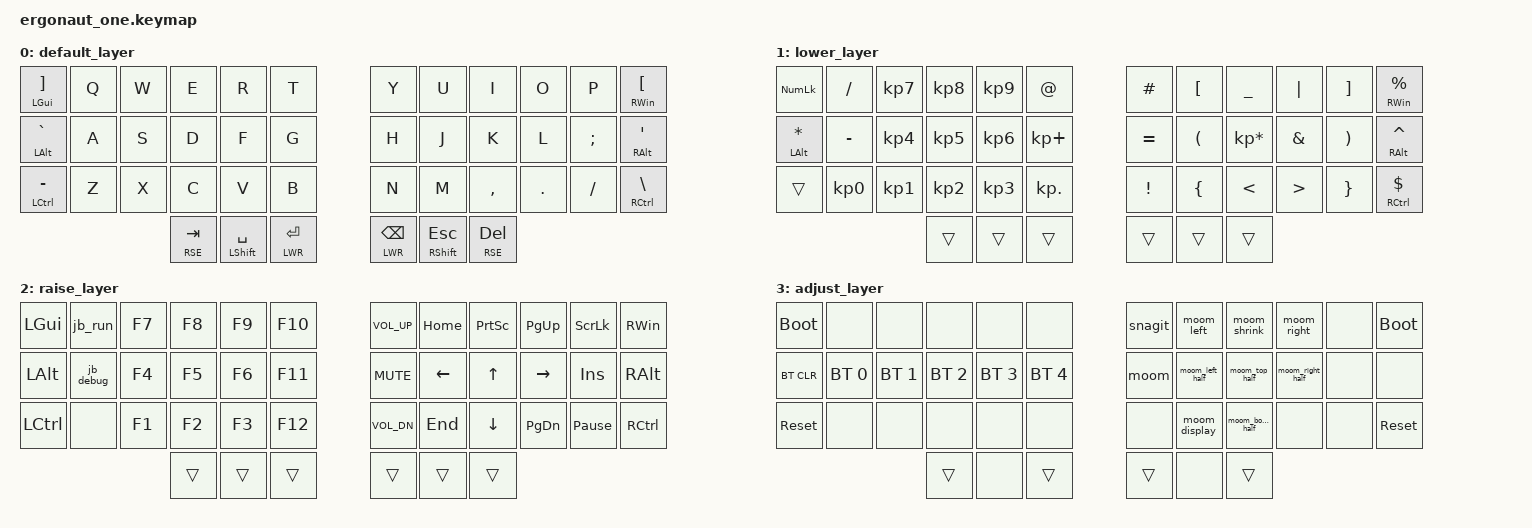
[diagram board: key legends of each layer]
#include <behaviors.dtsi>
#include <dt-bindings/zmk/bt.h>
#include <dt-bindings/zmk/keys.h>

#define DEF 0
#define LWR 1
#define RSE 2
#define ADJ 3

&lt { quick-tap-ms = <200>; };

&mt { quick-tap-ms = <200>; };

/ {
    conditional_layers {
        compatible = "zmk,conditional-layers";

        tri-layer {
            if-layers = <1 2>;
            then-layer = <3>;
        };
    };

    macros {
        plain_text: plain_text {
            compatible = "zmk,behavior-macro";
            #binding-cells = <0>;
            bindings =
                <&macro_press>,
                <&kp RGUI &kp RSHFT &kp K>,
                <&macro_release>,
                <&kp RGUI &kp RSHFT &kp K>;

            label = "PLAIN_TEXT";
        };

        moom: moom {
            compatible = "zmk,behavior-macro";
            #binding-cells = <0>;
            bindings =
                <&macro_press>,
                <&kp RGUI &kp RALT &kp DOT>,
                <&macro_release>,
                <&kp RGUI &kp RALT &kp DOT>;

            label = "MOOM";
        };

        moom_left_half: moom_left_half {
            compatible = "zmk,behavior-macro";
            #binding-cells = <0>;
            bindings =
                <&moom>,
                <&macro_wait_time 50>,
                <&macro_press>,
                <&kp LEFT_WIN &kp LEFT_ARROW>,
                <&macro_release>,
                <&kp LEFT_WIN &kp LEFT_ARROW>;

            label = "MOOM_LEFT_HALF";
        };

        moom_right_half: moom_right_half {
            compatible = "zmk,behavior-macro";
            #binding-cells = <0>;
            bindings =
                <&moom>,
                <&macro_wait_time 50>,
                <&macro_press>,
                <&kp LEFT_WIN &kp RIGHT_ARROW>,
                <&macro_release>,
                <&kp LEFT_WIN &kp RIGHT_ARROW>;

            label = "MOOM_RIGHT_HALF";
        };

        moom_top_half: moom_top_half {
            compatible = "zmk,behavior-macro";
            #binding-cells = <0>;
            bindings =
                <&moom>,
                <&macro_wait_time 50>,
                <&macro_press>,
                <&kp LEFT_WIN &kp UP_ARROW>,
                <&macro_release>,
                <&kp LEFT_WIN &kp UP_ARROW>;

            label = "MOOM_TOP_HALF";
        };

        moom_bottom_half: moom_bottom_half {
            compatible = "zmk,behavior-macro";
            #binding-cells = <0>;
            bindings =
                <&moom>,
                <&macro_wait_time 50>,
                <&macro_press>,
                <&kp LEFT_WIN &kp DOWN_ARROW>,
                <&macro_release>,
                <&kp LEFT_WIN &kp DOWN_ARROW>;

            label = "MOOM_BOTTOM_HALF";
        };

        moom_shrink: moom_shrink {
            compatible = "zmk,behavior-macro";
            #binding-cells = <0>;
            bindings = <&moom>, <&macro_wait_time 50>, <&macro_tap>, <&kp F8>;

            label = "MOOM_SHRINK";
        };

        moom_revert: moom_revert {
            compatible = "zmk,behavior-macro";
            #binding-cells = <0>;
            bindings = <&moom>, <&macro_wait_time 50>, <&macro_tap>, <&kp F6>;

            label = "MOOM_REVERT";
        };

        moom_left: moom_left {
            compatible = "zmk,behavior-macro";
            #binding-cells = <0>;
            bindings = <&moom>, <&macro_wait_time 50>, <&macro_tap>, <&kp F7>;

            label = "MOOM_LEFT";
        };

        moom_right: moom_right {
            compatible = "zmk,behavior-macro";
            #binding-cells = <0>;
            bindings = <&moom>, <&macro_wait_time 50>, <&macro_tap>, <&kp F9>;

            label = "MOOM_RIGHT";
        };

        snagit: snagit {
            compatible = "zmk,behavior-macro";
            #binding-cells = <0>;
            bindings =
                <&macro_press>,
                <&kp RGUI &kp F13>,
                <&macro_release>,
                <&kp RGUI &kp F13>;

            label = "SNAGIT";
        };

        lock_sceen: lock_sceen {
            compatible = "zmk,behavior-macro";
            #binding-cells = <0>;
            bindings =
                <&macro_press>,
                <&kp LEFT_GUI &kp LEFT_CONTROL &kp Q>,
                <&macro_release>,
                <&kp LEFT_GUI &kp LEFT_CONTROL &kp Q>;

            label = "LOCK_SCEEN";
        };

        undo: undo {
            compatible = "zmk,behavior-macro";
            #binding-cells = <0>;
            bindings =
                <&macro_press>,
                <&kp LEFT_GUI &kp Z>,
                <&macro_release>,
                <&kp LEFT_GUI &kp Z>;

            label = "UNDO";
        };

        redo: redo {
            compatible = "zmk,behavior-macro";
            #binding-cells = <0>;
            bindings =
                <&macro_press>,
                <&kp LEFT_SHIFT &kp LEFT_GUI &kp Z>,
                <&macro_release>,
                <&kp LEFT_SHIFT &kp LEFT_GUI &kp Z>;

            label = "REDO";
        };

        double_shift: double_shift {
            compatible = "zmk,behavior-macro";
            #binding-cells = <0>;
            bindings =
                <&kp LEFT_SHIFT>,
                <&macro_wait_time 10>,
                <&kp LEFT_SHIFT>;

            label = "DOUBLE_SHIFT";
        };

        moom_display: moom_display {
            compatible = "zmk,behavior-macro";
            #binding-cells = <0>;
            bindings = <&moom>, <&macro_wait_time 50>, <&macro_tap>, <&kp F10>;

            label = "MOOM_DISPLAY";
        };

        left_desk: left_desk {
            compatible = "zmk,behavior-macro";
            #binding-cells = <0>;
            bindings =
                <&macro_press>,
                <&kp LCTRL &kp LEFT_ARROW>,
                <&macro_release>,
                <&kp LEFT_ARROW &kp LCTRL>;

            label = "LEFT_DESK";
        };

        right_desk: right_desk {
            compatible = "zmk,behavior-macro";
            #binding-cells = <0>;
            bindings =
                <&macro_press>,
                <&kp LCTRL &kp RIGHT_ARROW>,
                <&macro_release>,
                <&kp RIGHT_ARROW &kp LCTRL>;

            label = "RIGHT_DESK";
        };

        jb_run: jb_run {
            compatible = "zmk,behavior-macro";
            #binding-cells = <0>;
            bindings = <&kp LA(LC(R))>;
            label = "JB_RUN";
        };

        jb_debug: jb_debug {
            compatible = "zmk,behavior-macro";
            #binding-cells = <0>;
            bindings = <&kp LA(LC(D))>;
            label = "JB_DEBUG";
        };
    };

    combos {
        compatible = "zmk,combos";

        combo_next {
            timeout-ms = <50>;
            key-positions = <20 21>;
            layers = <2>;
            bindings = <&kp C_NEXT>;
        };

        combo_prev {
            timeout-ms = <50>;
            key-positions = <19 20>;
            layers = <2>;
            bindings = <&kp C_PREVIOUS>;
        };

        combo_pause {
            timeout-ms = <50>;
            key-positions = <21 19 20>;
            layers = <2>;
            bindings = <&kp C_PLAY_PAUSE>;
        };

        lock_screen {
            bindings = <&lock_sceen>;
            key-positions = <15 16 14>;
            layers = <0>;
            timeout-ms = <50>;
        };

        undo {
            bindings = <&undo>;
            key-positions = <19 20>;
            layers = <0>;
            timeout-ms = <50>;
        };

        redo {
            bindings = <&redo>;
            key-positions = <20 21>;
            layers = <0>;
            timeout-ms = <50>;
        };

        double_shift {
            bindings = <&double_shift>;
            key-positions = <37 40>;
            layers = <0>;
            timeout-ms = <100>;
            require-prior-idle-ms = <200>;
        };

        plaint_text {
            bindings = <&plain_text>;
            key-positions = <14 15>;
            timeout-ms = <50>;
            layers = <0>;
        };

        left_desk {
            bindings = <&left_desk>;
            key-positions = <7 8>;
            layers = <0>;
            timeout-ms = <50>;
        };

        right_desk {
            bindings = <&right_desk>;
            key-positions = <8 9>;
            layers = <0>;
            timeout-ms = <50>;
        };

        moom_left {
            bindings = <&moom_left_half>;
            key-positions = <31 32>;
            layers = <0>;
            timeout-ms = <50>;
        };

        moom_right {
            bindings = <&moom_right_half>;
            key-positions = <32 33>;
            layers = <0>;
            timeout-ms = <50>;
        };

        moom_display {
            bindings = <&moom_display>;
            key-positions = <31 32 33>;
            timeout-ms = <50>;
            layers = <0>;
        };
    };

    keymap {
        compatible = "zmk,keymap";

        default_layer {
            bindings = <
&mt LGUI RBKT    &kp Q  &kp W  &kp E        &kp R            &kp T        &kp Y              &kp U          &kp I        &kp O    &kp P     &mt RWIN LEFT_BRACKET
&mt LALT GRAVE   &kp A  &kp S  &kp D        &kp F            &kp G        &kp H              &kp J          &kp K        &kp L    &kp SEMI  &mt RALT SQT
&mt LCTRL MINUS  &kp Z  &kp X  &kp C        &kp V            &kp B        &kp N              &kp M          &kp COMMA    &kp DOT  &kp FSLH  &mt RCTRL BSLH
                               &lt RSE TAB  &mt LSHFT SPACE  &lt LWR RET  &lt LWR BACKSPACE  &mt RSHFT ESC  &lt RSE DEL
            >;
        };

        lower_layer {
            bindings = <
&kp KP_NUMLOCK     &kp SLASH  &kp KP_N7  &kp KP_N8  &kp KP_N9  &kp AT_SIGN  &kp HASH   &kp LEFT_BRACKET      &kp UNDERSCORE   &kp PIPE          &kp RIGHT_BRACKET      &mt RWIN PERCENT
&mt LEFT_ALT STAR  &kp MINUS  &kp KP_N4  &kp KP_N5  &kp KP_N6  &kp KP_PLUS  &kp EQUAL  &kp LEFT_PARENTHESIS  &kp KP_ASTERISK  &kp AMPERSAND     &kp RIGHT_PARENTHESIS  &mt RIGHT_ALT CARET
&trans             &kp KP_N0  &kp KP_N1  &kp KP_N2  &kp KP_N3  &kp KP_DOT   &kp EXCL   &kp LEFT_BRACE        &kp LESS_THAN    &kp GREATER_THAN  &kp RIGHT_BRACE        &mt RCTRL DOLLAR
                                         &trans     &trans     &trans       &trans     &trans                &trans
            >;
        };

        raise_layer {
            bindings = <
&kp LGUI   &jb_run    &kp F7  &kp F8  &kp F9  &kp F10  &kp C_VOL_UP  &kp HOME  &kp PSCRN  &kp PG_UP  &kp SLCK         &kp RWIN
&kp LALT   &jb_debug  &kp F4  &kp F5  &kp F6  &kp F11  &kp C_MUTE    &kp LEFT  &kp UP     &kp RIGHT  &kp INS          &kp RALT
&kp LCTRL  &none      &kp F1  &kp F2  &kp F3  &kp F12  &kp C_VOL_DN  &kp END   &kp DOWN   &kp PG_DN  &kp PAUSE_BREAK  &kp RCTRL
                              &trans  &trans  &trans   &trans        &trans    &trans
            >;
        };

        adjust_layer {
            bindings = <
&bootloader  &none         &none         &none         &none         &none         &snagit  &moom_left       &moom_shrink       &moom_right       &none  &bootloader
&bt BT_CLR   &bt BT_SEL 0  &bt BT_SEL 1  &bt BT_SEL 2  &bt BT_SEL 3  &bt BT_SEL 4  &moom    &moom_left_half  &moom_top_half     &moom_right_half  &none  &none
&sys_reset   &none         &none         &none         &none         &none         &none    &moom_display    &moom_bottom_half  &none             &none  &sys_reset
                                         &trans        &none         &trans        &trans   &none            &trans
            >;
        };
    };
};
